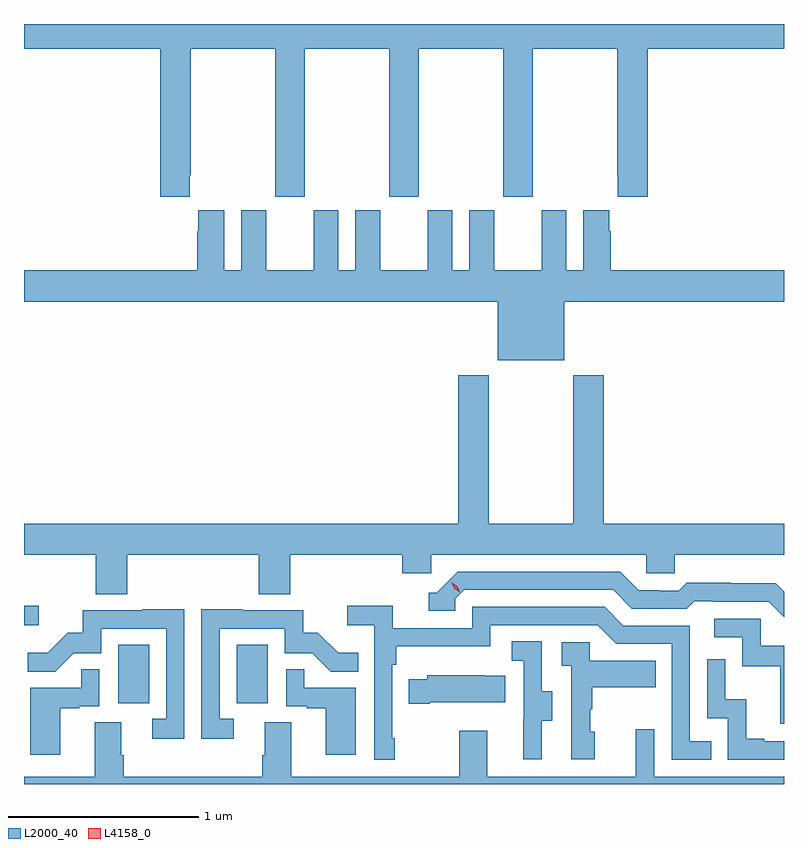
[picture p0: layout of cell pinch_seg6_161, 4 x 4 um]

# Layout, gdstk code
import gdstk
lib = gdstk.Library(unit=1e-6, precision=1e-09)
def R(c, l, rs):  # rectangles x0, y0, x1, y1
    for r in rs: c.add(gdstk.rectangle(r[:2], r[2:], *l))
def P(c, l, *ps):  # polygons
    for p in ps: c.add(gdstk.Polygon(p, *l))
L2000_40 = (2000, 40)
L4158_0 = (4158, 0)

pinch_seg6_161 = lib.new_cell('pinch_seg6_161')
R(pinch_seg6_161, L2000_40, [(1023.836,939.894,1024,940.201), (1024.46,939.894,1024.624,940.201), (1023.341,940.304,1023.418,940.406)])
P(pinch_seg6_161, L2000_40, [(1024.213,942.673),(1024.218,942.673),(1024.218,943.34),(1024.663,943.34),(1024.663,942.561),(1024.818,942.561),(1024.818,943.34),(1025.263,943.34),(1025.263,942.561),(1025.418,942.561),(1025.418,943.34),(1025.863,943.34),(1025.863,942.561),(1026.018,942.561),(1026.018,943.34),(1026.463,943.34),(1026.463,942.673),(1026.467,942.673),(1026.467,942.561),(1026.623,942.561),(1026.623,943.34),(1027.341,943.34),(1027.341,943.469),(1023.341,943.469),(1023.341,943.34),(1024.058,943.34),(1024.058,942.561),(1024.213,942.561)],
  [(1026.184,942.008),(1027.341,942.008),(1027.341,942.172),(1026.428,942.172),(1026.428,942.377),(1026.421,942.377),(1026.421,942.49),(1026.284,942.49),(1026.284,942.172),(1026.196,942.172),(1026.196,942.49),(1026.065,942.49),(1026.065,942.172),(1025.815,942.172),(1025.815,942.49),(1025.684,942.49),(1025.684,942.172),(1025.596,942.172),(1025.596,942.49),(1025.465,942.49),(1025.465,942.172),(1025.215,942.172),(1025.215,942.49),(1025.084,942.49),(1025.084,942.172),(1024.996,942.172),(1024.996,942.49),(1024.865,942.49),(1024.865,942.172),(1024.615,942.172),(1024.615,942.49),(1024.484,942.49),(1024.484,942.172),(1024.396,942.172),(1024.396,942.49),(1024.259,942.49),(1024.259,942.377),(1024.253,942.377),(1024.253,942.172),(1023.341,942.172),(1023.341,942.008),(1025.834,942.008),(1025.834,941.699),(1026.184,941.699)],
  [(1023.884,940.676),(1024.577,940.676),(1024.577,940.468),(1024.742,940.468),(1024.742,940.676),(1025.333,940.676),(1025.333,940.578),(1025.484,940.578),(1025.484,940.676),(1026.615,940.676),(1026.615,940.578),(1026.765,940.578),(1026.765,940.676),(1027.341,940.676),(1027.341,940.84),(1026.392,940.84),(1026.392,941.62),(1026.232,941.62),(1026.232,940.84),(1025.787,940.84),(1025.787,941.62),(1025.627,941.62),(1025.627,940.84),(1023.341,940.84),(1023.341,940.676),(1023.719,940.676),(1023.719,940.468),(1023.884,940.468)],
  [(1027.341,940.482),(1027.298,940.525),(1027.062,940.525),(1027.062,940.528),(1026.829,940.528),(1026.787,940.485),(1026.684,940.485),(1026.684,940.488),(1026.577,940.488),(1026.478,940.587),(1025.625,940.587),(1025.514,940.476),(1025.471,940.476),(1025.471,940.38),(1025.61,940.38),(1025.61,940.443),(1025.658,940.491),(1026.441,940.491),(1026.54,940.392),(1026.829,940.392),(1026.868,940.431),(1026.967,940.431),(1026.967,940.428),(1027.26,940.428),(1027.341,940.347)],
  [(1025.293,939.709),(1025.28,939.709),(1025.28,940.097),(1025.3,940.097),(1025.3,940.193),(1025.796,940.193),(1025.796,940.305),(1026.36,940.305),(1026.459,940.206),(1026.75,940.206),(1026.75,939.597),(1026.959,939.597),(1026.959,939.693),(1026.846,939.693),(1026.846,940.302),(1026.496,940.302),(1026.397,940.401),(1025.7,940.401),(1025.7,940.29),(1025.282,940.29),(1025.282,940.406),(1025.043,940.406),(1025.043,940.304),(1025.184,940.304),(1025.184,939.597),(1025.293,939.597)],
  [(1024.185,940.388),(1023.967,940.388),(1023.967,940.383),(1023.649,940.383),(1023.649,940.266),(1023.572,940.266),(1023.465,940.159),(1023.361,940.159),(1023.361,940.06),(1023.505,940.06),(1023.603,940.158),(1023.747,940.158),(1023.747,940.287),(1024.089,940.287),(1024.089,939.813),(1024.017,939.813),(1024.017,939.708),(1024.185,939.708)],
  [(1024.444,939.813),(1024.371,939.813),(1024.371,940.287),(1024.713,940.287),(1024.713,940.158),(1024.857,940.158),(1024.955,940.06),(1025.099,940.06),(1025.099,940.159),(1024.995,940.159),(1024.888,940.266),(1024.812,940.266),(1024.812,940.383),(1024.493,940.383),(1024.493,940.388),(1024.275,940.388),(1024.275,939.708),(1024.444,939.708)],
  [(1027.341,940.197),(1027.218,940.197),(1027.218,940.338),(1026.975,940.338),(1026.975,940.242),(1027.122,940.242),(1027.122,940.089),(1027.321,940.089),(1027.321,939.786),(1027.341,939.786)],
  [(1026.067,939.802),(1026.121,939.802),(1026.121,939.957),(1026.066,939.957),(1026.066,940.22),(1025.907,940.22),(1025.907,940.117),(1025.97,940.117),(1025.97,939.813),(1025.969,939.813),(1025.969,939.6),(1026.067,939.6)],
  [(1026.346,939.744),(1026.321,939.744),(1026.321,939.863),(1026.331,939.863),(1026.331,939.977),(1026.665,939.977),(1026.665,940.117),(1026.318,940.117),(1026.318,940.215),(1026.171,940.215),(1026.171,940.091),(1026.222,940.091),(1026.222,939.6),(1026.346,939.6)],
  [(1027.341,939.693),(1027.237,939.693),(1027.237,939.706),(1027.142,939.706),(1027.142,939.914),(1027.032,939.914),(1027.032,940.126),(1026.936,940.126),(1026.936,939.816),(1027.044,939.816),(1027.044,939.597),(1027.341,939.597)],
  [(1025.086,939.975),(1024.817,939.975),(1024.817,940.073),(1024.722,940.073),(1024.722,939.879),(1024.829,939.879),(1024.829,939.867),(1024.928,939.867),(1024.928,939.624),(1025.086,939.624)],
  [(1023.532,939.867),(1023.632,939.867),(1023.632,939.879),(1023.738,939.879),(1023.738,940.073),(1023.643,940.073),(1023.643,939.975),(1023.374,939.975),(1023.374,939.624),(1023.532,939.624)],
  [(1025.476,939.899),(1025.873,939.899),(1025.873,940.039),(1025.765,940.039),(1025.765,940.042),(1025.463,940.042),(1025.463,940.021),(1025.365,940.021),(1025.365,939.892),(1025.476,939.892)],
  [(1027.341,939.508),(1026.657,939.508),(1026.657,939.757),(1026.56,939.757),(1026.56,939.508),(1025.779,939.508),(1025.779,939.748),(1025.632,939.748),(1025.632,939.508),(1024.747,939.508),(1024.747,939.794),(1024.607,939.794),(1024.607,939.62),(1024.595,939.62),(1024.595,939.508),(1023.866,939.508),(1023.866,939.62),(1023.853,939.62),(1023.853,939.794),(1023.713,939.794),(1023.713,939.508),(1023.341,939.508),(1023.341,939.469),(1027.341,939.469)])
P(pinch_seg6_161, L4158_0, [(1025.635,940.478),(1025.605,940.498),(1025.589,940.531),(1025.589,940.531),(1025.589,940.531),(1025.62,940.511),(1025.635,940.478),(1025.635,940.478)])

lib.write_gds('pinch_seg6_161.gds')
